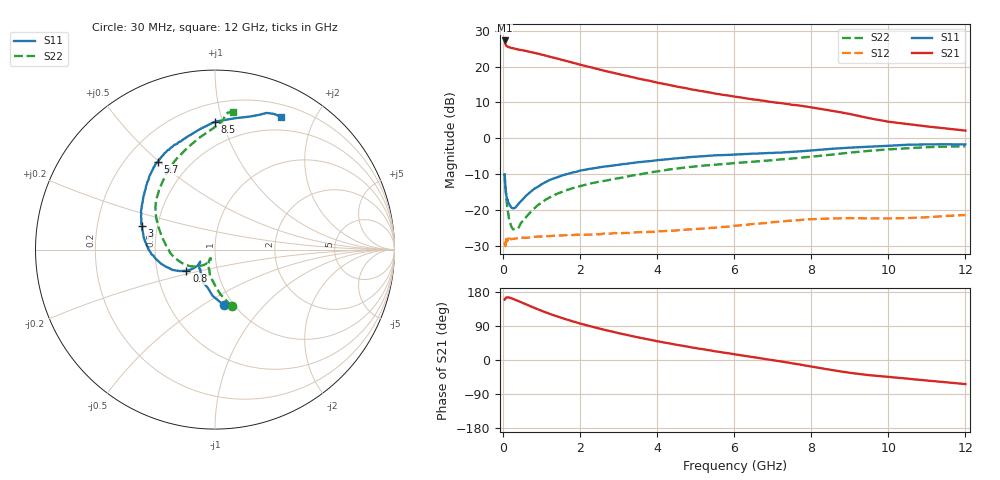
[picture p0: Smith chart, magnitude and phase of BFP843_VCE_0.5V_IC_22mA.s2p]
! Infineon Technologies  Discrete & RF Semiconductors
! BFP843
! VCE =  0.5 V,  IC =  22 mA
! Common Emitter S-Parameters:  Aug 2013
# GHz  S  MA  R  50
!  f  S11  S21  S12  S22
! GHz  MAG  ANG  MAG  ANG  MAG  ANG  MAG  ANG
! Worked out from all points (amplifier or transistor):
!   103 points, 30 MHz to 12 GHz, reference 50 ohm
!   highest |S21| = 27.3 dB at 30 MHz (marker M1)
!   |S21| within 3 dB of that: start of sweep to 615.1 MHz
!   unconditionally stable (mu >= 1): 76.51 MHz to end of sweep
!   at 400 MHz: K = 1.05, MAG = 24.9 dB, |S12| = -27.9 dB
!   at 3.7 GHz: K = 1.30, MAG = 17.9 dB, |S12| = -26.1 dB
!   at 12 GHz: K = 1.03, MAG = 10.7 dB, |S12| = -21.4 dB
!   S11 on the Smith chart (normalised r, x): 30 MHz: 0.90, -0.62; 800 MHz: 0.71, -0.17; 3 GHz: 0.41, +0.13; 5.7 GHz: 0.33, +0.49; 8.5 GHz: 0.33, +0.95; 12 GHz: 0.34, +1.56
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0.03  0.3128 -81.1  23.06 159.3  0.0334 26.4  0.3261 -73.6
0.04  0.2567 -93.2  21.47 160.6  0.0354 19.9  0.2533 -82.8
0.05  0.2158 -100.9  20.67 163.1  0.0315 14.1  0.2032 -89.4
0.07  0.1689 -115.4  19.56 164.6  0.0396 14.4  0.1536 -99.4
0.13  0.1268 -133.6  18.75 165.3  0.0384 8.4  0.0864 -115.1
0.5  0.1412 -137.8  16.81 150.6  0.0414 5.8  0.0707 -114.8
0.8  0.1981 -143.4  15.5 137.6  0.0424 5.9  0.1055 -125.6
1.1  0.2467 -151.8  14.18 125.7  0.0434 6.2  0.1403 -137.8
1.4  0.287 -160.3  12.91 115.0  0.0446 6.6  0.1695 -147.5
1.8  0.3346 -171.3  11.29 101.9  0.045 5.8  0.2022 -159.1
2.1  0.3634 -178.6  10.26 93.3  0.0454 6.1  0.2234 -166.7
2.5  0.3951 172.4  9.068 82.7  0.046 6.5  0.2506 -176.0
3  0.4281 162.0  7.836 70.7  0.0475 6.2  0.2785 173.4
3.5  0.4655 152.3  6.788 59.6  0.0493 6.9  0.3119 164.3
4.1  0.5009 142.0  5.816 47.6  0.0508 6.3  0.3543 155.0
4.9  0.5512 131.1  4.777 33.1  0.0539 5.9  0.401 145.7
5.7  0.5844 123.1  4.033 19.9  0.0584 5.5  0.4379 137.2
6.1  0.5976 119.7  3.748 13.6  0.061 4.9  0.4554 133.0
7.3  0.639 106.1  3.041 -5.4  0.0701 -0.2  0.5134 120.2
8.5  0.7129 90.0  2.437 -26.0  0.0764 -9.2  0.5908 104.6
10.5  0.8141 69.3  1.58 -49.3  0.0776 -18.3  0.7272 86.3
12  0.8226 63.6  1.281 -63.5  0.0856 -23.7  0.7735 82.4
